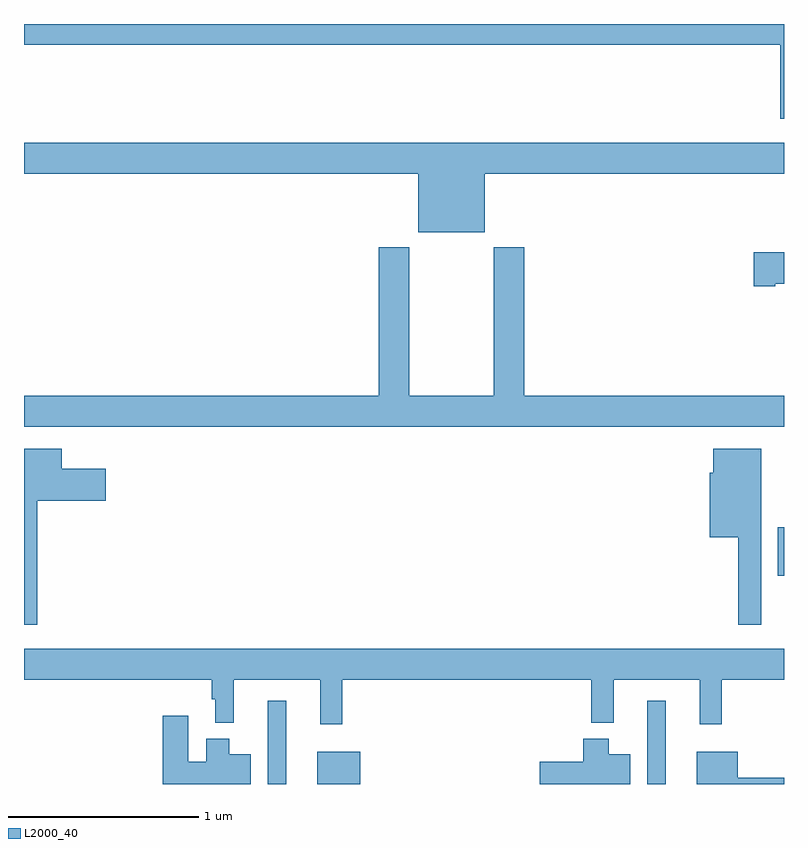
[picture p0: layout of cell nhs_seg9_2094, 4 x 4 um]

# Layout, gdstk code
import gdstk
lib = gdstk.Library(unit=1e-6, precision=1e-09)
def R(c, l, rs):  # rectangles x0, y0, x1, y1
    for r in rs: c.add(gdstk.rectangle(r[:2], r[2:], *l))
def P(c, l, *ps):  # polygons
    for p in ps: c.add(gdstk.Polygon(p, *l))
L2000_40 = (2000, 40)

nhs_seg9_2094 = lib.new_cell('nhs_seg9_2094')
R(nhs_seg9_2094, L2000_40, [(230.283,1234.5,230.38,1234.939), (230.543,1234.5,230.77,1234.669), (232.281,1234.5,232.378,1234.939), (232.967,1235.597,233,1235.851)])
P(nhs_seg9_2094, L2000_40, [(233,1238.5),(229,1238.5),(229,1238.392),(232.98,1238.392),(232.98,1238.001),(233,1238.001)],
  [(231.424,1237.712),(233,1237.712),(233,1237.876),(229,1237.876),(229,1237.712),(231.074,1237.712),(231.074,1237.403),(231.424,1237.403)],
  [(233,1236.544),(231.632,1236.544),(231.632,1237.324),(231.472,1237.324),(231.472,1236.544),(231.027,1236.544),(231.027,1237.324),(230.867,1237.324),(230.867,1236.544),(229,1236.544),(229,1236.38),(233,1236.38)],
  [(232.954,1237.133),(233,1237.133),(233,1237.299),(232.842,1237.299),(232.842,1237.121),(232.954,1237.121)],
  [(232.879,1236.265),(232.628,1236.265),(232.628,1236.138),(232.61,1236.138),(232.61,1235.798),(232.758,1235.798),(232.758,1235.337),(232.879,1235.337)],
  [(229.069,1235.99),(229.429,1235.99),(229.429,1236.16),(229.198,1236.16),(229.198,1236.265),(229,1236.265),(229,1235.337),(229.069,1235.337)],
  [(230.675,1235.048),(231.985,1235.048),(231.985,1234.823),(232.103,1234.823),(232.103,1235.048),(232.556,1235.048),(232.556,1234.815),(232.673,1234.815),(232.673,1235.048),(233,1235.048),(233,1235.212),(229,1235.212),(229,1235.048),(229.987,1235.048),(229.987,1234.945),(230.006,1234.945),(230.006,1234.823),(230.105,1234.823),(230.105,1235.048),(230.558,1235.048),(230.558,1234.815),(230.675,1234.815)],
  [(230.194,1234.657),(230.08,1234.657),(230.08,1234.738),(229.958,1234.738),(229.958,1234.617),(229.864,1234.617),(229.864,1234.858),(229.73,1234.858),(229.73,1234.5),(230.194,1234.5)],
  [(232.192,1234.657),(232.078,1234.657),(232.078,1234.738),(231.944,1234.738),(231.944,1234.617),(231.714,1234.617),(231.714,1234.5),(232.192,1234.5)],
  [(233,1234.532),(232.756,1234.532),(232.756,1234.669),(232.541,1234.669),(232.541,1234.5),(233,1234.5)])

lib.write_gds('nhs_seg9_2094.gds')
